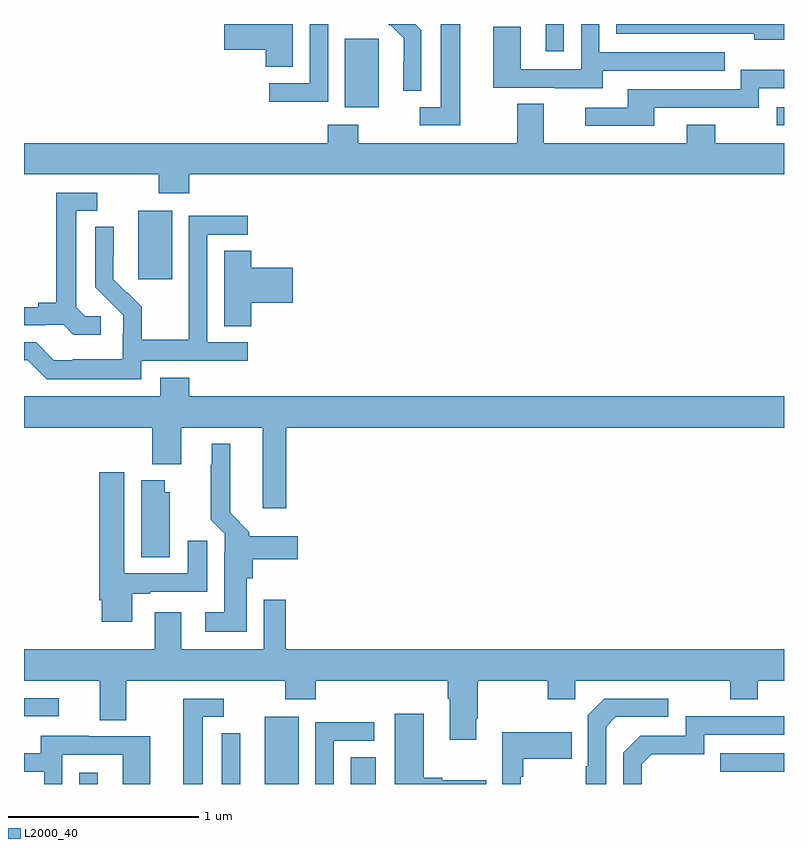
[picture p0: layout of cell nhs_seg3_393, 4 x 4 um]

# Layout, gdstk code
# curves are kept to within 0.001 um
import gdstk
lib = gdstk.Library(unit=1e-6, precision=1e-09)
def R(c, l, rs):  # rectangles x0, y0, x1, y1
    for r in rs: c.add(gdstk.rectangle(r[:2], r[2:], *l))
def P(c, l, *ps):  # polygons
    for p in ps: c.add(gdstk.Polygon(p, *l))
L2000_40 = (2000, 40)

nhs_seg3_393 = lib.new_cell('nhs_seg3_393')
R(nhs_seg3_393, L2000_40, [(131.292,672.4,131.389,672.46), (132.266,672.4,132.445,672.754), (132.719,672.4,132.85,672.542), (134.665,672.465,135,672.561), (131,672.756,131.182,672.852), (131.6,675.057,131.779,675.418), (134.961,675.867,135,675.963), (132.689,675.962,132.868,676.323), (133.745,676.257,133.842,676.4)])
P(nhs_seg3_393, L2000_40, [(133.297,676.4),(133.193,676.4),(133.193,675.963),(133.083,675.963),(133.083,675.867),(133.297,675.867)],
  [(134.047,676.155),(134.687,676.155),(134.687,676.251),(134.028,676.251),(134.028,676.4),(133.932,676.4),(133.932,676.161),(133.614,676.161),(133.614,676.385),(133.469,676.385),(133.469,676.065),(133.793,676.065),(133.793,676.061),(134.047,676.061)],
  [(132.415,676.4),(132.054,676.4),(132.054,676.265),(132.272,676.265),(132.272,676.174),(132.415,676.174)],
  [(132.6,676.4),(132.504,676.4),(132.504,676.089),(132.291,676.089),(132.291,675.991),(132.6,675.991)],
  [(133.092,676.366),(133.058,676.4),(132.916,676.4),(132.924,676.392),(132.927,676.395),(132.998,676.325),(132.998,676.202),(132.996,676.202),(132.996,676.048),(133.092,676.048)],
  [(135,676.4),(134.118,676.4),(134.118,676.35),(134.843,676.35),(134.843,676.316),(135,676.316)],
  [(134.317,675.96),(134.868,675.96),(134.868,676.062),(135,676.062),(135,676.159),(134.772,676.159),(134.772,676.056),(134.177,676.056),(134.177,675.96),(133.953,675.96),(133.953,675.864),(134.317,675.864)],
  [(131.87,675.608),(135,675.608),(135,675.772),(134.637,675.772),(134.637,675.871),(134.489,675.871),(134.489,675.772),(133.735,675.772),(133.735,675.98),(133.595,675.98),(133.595,675.772),(132.759,675.772),(132.759,675.871),(132.599,675.871),(132.599,675.772),(131,675.772),(131,675.608),(131.71,675.608),(131.71,675.509),(131.87,675.509)],
  [(131.404,674.862),(131.322,674.862),(131.275,674.909),(131.275,675.417),(131.386,675.417),(131.386,675.513),(131.171,675.513),(131.171,674.933),(131.075,674.933),(131.075,674.91),(131,674.91),(131,674.814),(131.114,674.814),(131.114,674.817),(131.208,674.817),(131.26,674.765),(131.404,674.765)],
  [(131.616,674.628),(132.178,674.628),(132.178,674.724),(131.964,674.724),(131.964,675.291),(132.178,675.291),(132.178,675.39),(131.868,675.39),(131.868,674.96),(131.866,674.96),(131.866,674.737),(131.621,674.737),(131.621,674.911),(131.544,674.988),(131.541,674.985),(131.471,675.056),(131.472,675.332),(131.376,675.332),(131.376,675.014),(131.522,674.866),(131.522,674.769),(131.52,674.769),(131.52,674.635),(131.257,674.635),(131.257,674.631),(131.157,674.631),(131.064,674.724),(131,674.724),(131,674.631),(131.019,674.631),(131.119,674.531),(131.616,674.531)],
  [(132.197,674.933),(132.415,674.933),(132.415,675.116),(132.197,675.116),(132.197,675.206),(132.053,675.206),(132.053,674.809),(132.197,674.809)],
  [(132.38,674.276),(135,674.276),(135,674.44),(131.87,674.44),(131.87,674.539),(131.717,674.539),(131.717,674.44),(131,674.44),(131,674.276),(131.675,674.276),(131.675,674.084),(131.827,674.084),(131.827,674.276),(132.257,674.276),(132.257,673.851),(132.38,673.851)],
  [(132.172,673.482),(132.203,673.482),(132.203,673.583),(132.442,673.583),(132.442,673.705),(132.186,673.705),(132.186,673.726),(132.085,673.828),(132.085,674.191),(131.987,674.191),(131.987,674.081),(131.983,674.081),(131.983,673.79),(132.057,673.716),(132.057,673.622),(132.053,673.622),(132.053,673.303),(131.955,673.303),(131.955,673.202),(132.172,673.202)],
  [(131.569,673.401),(131.665,673.401),(131.665,673.413),(131.965,673.413),(131.965,673.681),(131.861,673.681),(131.861,673.509),(131.527,673.509),(131.527,674.041),(131.396,674.041),(131.396,673.366),(131.408,673.366),(131.408,673.254),(131.569,673.254)],
  [(131.767,673.935),(131.74,673.935),(131.74,673.999),(131.618,673.999),(131.618,673.594),(131.767,673.594)],
  [(133.381,672.745),(133.389,672.745),(133.389,672.944),(133.756,672.944),(133.756,672.845),(133.902,672.845),(133.902,672.944),(134.716,672.944),(134.716,672.845),(134.863,672.845),(134.863,672.944),(135,672.944),(135,673.108),(132.377,673.108),(132.377,673.369),(132.261,673.369),(132.261,673.108),(131.827,673.108),(131.827,673.303),(131.687,673.303),(131.687,673.108),(131,673.108),(131,672.944),(131.399,672.944),(131.399,672.736),(131.539,672.736),(131.539,672.944),(132.376,672.944),(132.376,672.845),(132.536,672.845),(132.536,672.944),(133.229,672.944),(133.229,672.848),(133.241,672.848),(133.241,672.633),(133.381,672.633)],
  [(134.064,672.702),(134.115,672.753),(134.392,672.753),(134.392,672.849),(134.055,672.849),(133.968,672.762),(133.968,672.493),(133.956,672.493),(133.956,672.4),(134.064,672.4)],
  [(131.941,672.753),(132.052,672.753),(132.052,672.849),(131.837,672.849),(131.837,672.4),(131.941,672.4)],
  [(133.432,672.421),(133.201,672.421),(133.201,672.434),(133.105,672.434),(133.105,672.769),(132.95,672.769),(132.95,672.4),(133.432,672.4)],
  [(134.25,672.504),(134.303,672.557),(134.58,672.557),(134.58,672.66),(135,672.66),(135,672.756),(134.484,672.756),(134.484,672.654),(134.244,672.654),(134.154,672.564),(134.154,672.4),(134.25,672.4)],
  [(132.63,672.627),(132.844,672.627),(132.844,672.726),(132.534,672.726),(132.534,672.4),(132.63,672.4)],
  [(133.614,672.437),(133.627,672.437),(133.627,672.533),(133.883,672.533),(133.883,672.673),(133.518,672.673),(133.518,672.4),(133.614,672.4)],
  [(132.137,672.514),(132.138,672.514),(132.138,672.668),(132.042,672.668),(132.042,672.4),(132.137,672.4)],
  [(131.202,672.555),(131.52,672.555),(131.52,672.4),(131.665,672.4),(131.665,672.651),(131.341,672.651),(131.341,672.655),(131.087,672.655),(131.087,672.561),(131,672.561),(131,672.465),(131.106,672.465),(131.106,672.4),(131.202,672.4)])

lib.write_gds('nhs_seg3_393.gds')
